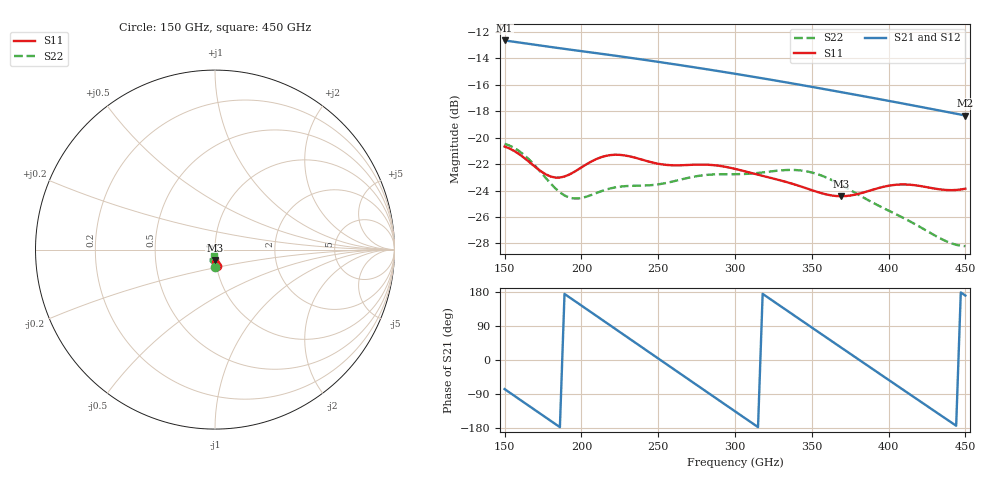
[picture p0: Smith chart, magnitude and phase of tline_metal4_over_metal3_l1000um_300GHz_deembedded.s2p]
! Created with skrf 2.0.1 (http://scikit-rf.org).
# GHz S DB R 50.0
!freq dBS11 angS11 dBS21 angS21 dBS12 angS12 dBS22 angS22
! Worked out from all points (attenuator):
!   101 points, 150 GHz to 450 GHz, reference 50 ohm
!   highest |S21| = -12.66 dB at 150 GHz (marker M1); lowest = -18.3 dB at 450 GHz (marker M2)
!   lowest |S11| = -24.4 dB at 369 GHz (marker M3), VSWR 1.13, Z = 49.5 - j5.96 ohm
!   |S11| at or under -10 dB: start of sweep to end of sweep
!   |S22| runs from -28.2 to -20.5 dB; largest |S21 - S12| = 2.4e-14
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150  -20.68 -82.2  -12.66 -76.8  -12.66 -76.8  -20.47 -89.2
162  -21.47 -85.0  -12.86 -110.3  -12.86 -110.3  -21.24 -94.7
177  -22.79 -81.9  -13.10 -152.2  -13.10 -152.2  -23.08 -97.0
189  -22.94 -74.9  -13.30 174.4  -13.30 174.4  -24.37 -91.4
201  -22.18 -71.8  -13.48 140.9  -13.48 140.9  -24.54 -83.6
213  -21.48 -74.4  -13.67 107.4  -13.67 107.4  -24.05 -80.3
225  -21.30 -79.4  -13.86 73.9  -13.86 73.9  -23.71 -80.7
240  -21.68 -83.9  -14.11 32.0  -14.11 32.0  -23.63 -81.4
252  -22.02 -84.9  -14.31 -1.6  -14.31 -1.6  -23.50 -81.3
264  -22.09 -85.4  -14.52 -35.0  -14.52 -35.0  -23.19 -81.9
276  -22.04 -87.0  -14.73 -68.5  -14.73 -68.5  -22.90 -84.1
288  -22.11 -89.8  -14.95 -102.0  -14.95 -102.0  -22.78 -87.0
300  -22.36 -92.4  -15.18 -135.4  -15.18 -135.4  -22.77 -89.5
321  -22.98 -95.0  -15.58 166.2  -15.58 166.2  -22.59 -93.5
336  -23.44 -95.9  -15.88 124.5  -15.88 124.5  -22.44 -98.5
351  -24.01 -95.5  -16.19 82.9  -16.19 82.9  -22.67 -105.1
369  -24.43 -91.4  -16.56 33.1  -16.56 33.1  -23.56 -111.7
384  -24.14 -88.1  -16.88 -8.3  -16.88 -8.3  -24.55 -114.1
402  -23.60 -88.8  -17.27 -58.0  -17.27 -58.0  -25.63 -114.2
423  -23.71 -91.4  -17.73 -115.8  -17.73 -115.8  -26.92 -112.1
438  -23.96 -90.1  -18.06 -157.0  -18.06 -157.0  -27.86 -106.7
450  -23.86 -87.8  -18.33 170.0  -18.33 170.0  -28.20 -99.5
